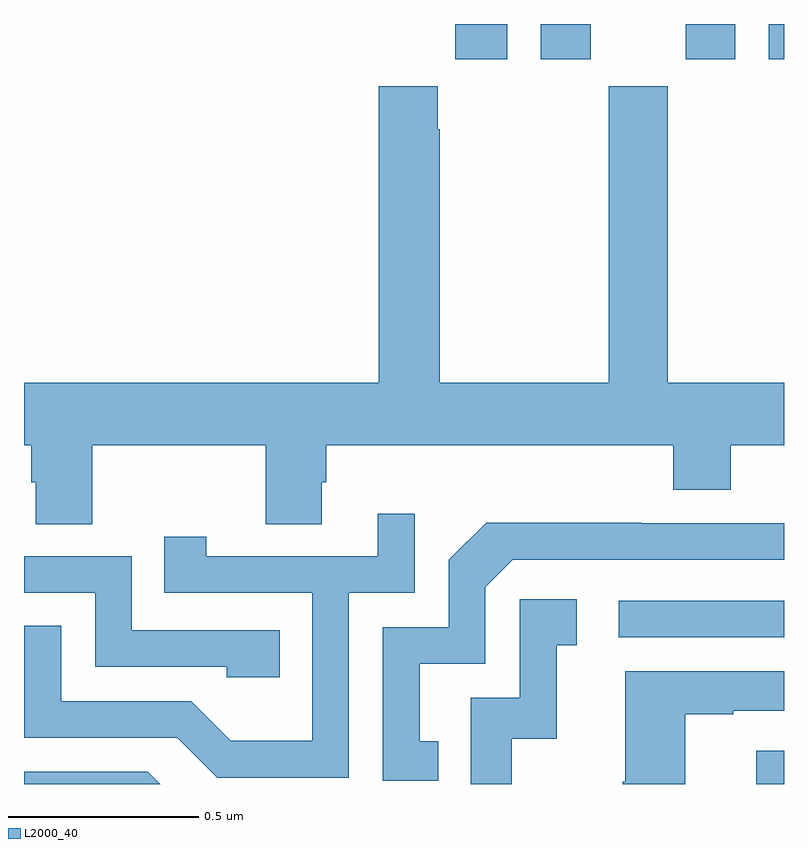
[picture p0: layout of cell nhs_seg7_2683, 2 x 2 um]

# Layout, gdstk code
import gdstk
lib = gdstk.Library(unit=1e-6, precision=1e-09)
def R(c, l, rs):  # rectangles x0, y0, x1, y1
    for r in rs: c.add(gdstk.rectangle(r[:2], r[2:], *l))
def P(c, l, *ps):  # polygons
    for p in ps: c.add(gdstk.Polygon(p, *l))
L2000_40 = (2000, 40)

nhs_seg7_2683 = lib.new_cell('nhs_seg7_2683')
R(nhs_seg7_2683, L2000_40, [(149.927,1057,150,1057.087), (149.565,1057.386,150,1057.482), (149.135,1058.907,149.272,1059), (149.36,1058.907,149.491,1059), (149.741,1058.907,149.872,1059), (149.96,1058.907,150,1059)])
P(nhs_seg7_2683, L2000_40, [(148.179,1057.892),(148.636,1057.892),(148.636,1057.684),(148.783,1057.684),(148.783,1057.794),(148.796,1057.794),(148.796,1057.892),(149.708,1057.892),(149.708,1057.775),(149.86,1057.775),(149.86,1057.892),(150,1057.892),(150,1058.056),(149.694,1058.056),(149.694,1058.836),(149.539,1058.836),(149.539,1058.056),(149.094,1058.056),(149.094,1058.723),(149.089,1058.723),(149.089,1058.836),(148.934,1058.836),(148.934,1058.056),(148,1058.056),(148,1057.892),(148.019,1057.892),(148.019,1057.794),(148.031,1057.794),(148.031,1057.684),(148.179,1057.684)],
  [(148.854,1057.503),(149.028,1057.503),(149.028,1057.711),(148.931,1057.711),(148.931,1057.599),(148.48,1057.599),(148.48,1057.651),(148.369,1057.651),(148.369,1057.503),(148.758,1057.503),(148.758,1057.114),(148.544,1057.114),(148.44,1057.218),(148.098,1057.218),(148.098,1057.417),(148,1057.417),(148,1057.122),(148.403,1057.122),(148.508,1057.017),(148.854,1057.017)],
  [(149.09,1057.113),(149.041,1057.113),(149.041,1057.317),(149.214,1057.317),(149.214,1057.518),(149.286,1057.59),(150,1057.59),(150,1057.686),(149.624,1057.686),(149.624,1057.688),(149.216,1057.688),(149.118,1057.59),(149.118,1057.413),(148.944,1057.413),(148.944,1057.008),(149.09,1057.008)],
  [(148.673,1057.404),(148.284,1057.404),(148.284,1057.599),(148,1057.599),(148,1057.503),(148.188,1057.503),(148.188,1057.308),(148.533,1057.308),(148.533,1057.281),(148.673,1057.281)],
  [(149.284,1057.119),(149.402,1057.119),(149.402,1057.365),(149.455,1057.365),(149.455,1057.486),(149.304,1057.486),(149.304,1057.227),(149.175,1057.227),(149.175,1057),(149.284,1057)],
  [(149.74,1057.183),(149.867,1057.183),(149.867,1057.193),(150,1057.193),(150,1057.297),(149.582,1057.297),(149.582,1057.006),(149.575,1057.006),(149.575,1057),(149.74,1057)],
  [(148.326,1057.032),(148,1057.032),(148,1057),(148.358,1057)])

lib.write_gds('nhs_seg7_2683.gds')
